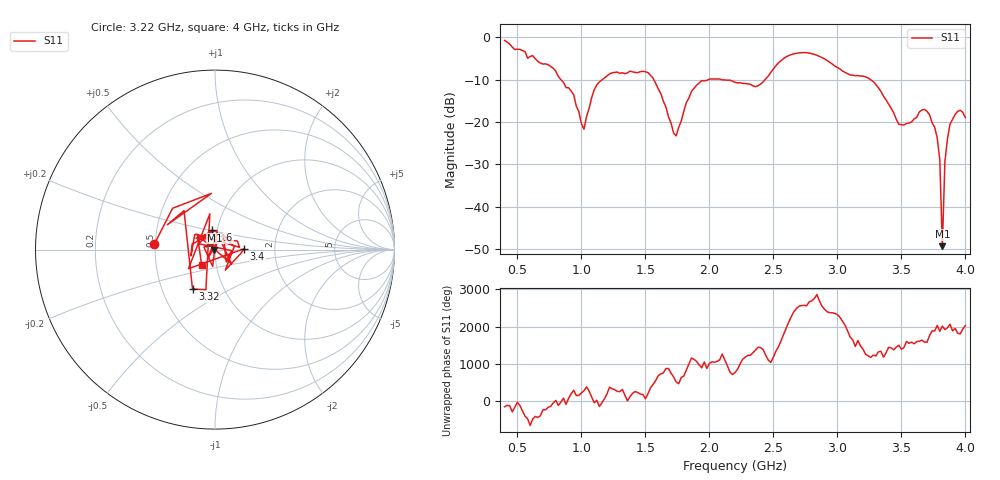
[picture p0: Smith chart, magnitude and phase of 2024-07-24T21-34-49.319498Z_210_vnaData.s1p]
!Created with skrf (http://scikit-rf.org).
# Hz S RI R 50.0
!freq ReS11 ImS11
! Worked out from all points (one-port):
!   181 points, 400 MHz to 4 GHz, reference 50 ohm
!   lowest |S11| = -49.2 dB at 3.82 GHz (marker M1), VSWR 1.01, Z = 49.7 - j0.185 ohm
!   |S11| at or under -10 dB: 838.5 MHz to 1.165 GHz (326.6 MHz wide, 32.6 % of centre); 1.565 GHz to 1.993 GHz (428.2 MHz wide, 24.1 % of centre); 3.257 GHz to end of sweep (the widest 3 of 4)
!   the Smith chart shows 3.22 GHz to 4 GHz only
!   S11 on the Smith chart (normalised r, x): 3.22 GHz: 0.49, +0.03; 3.32 GHz: 0.71, -0.33; 3.4 GHz: 1.39, +0.01; 3.6 GHz: 0.95, +0.21; 4 GHz: 0.85, -0.15
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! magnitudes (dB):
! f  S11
! 400 MHz  -0.8
! 860 MHz  -10.7
! 940 MHz  -13.6
! 1.02 GHz  -21.7
! 1.12 GHz  -11.3
! 1.3 GHz  -8.5
! 1.52 GHz  -8.4
! 1.72 GHz  -22.6
! 1.76 GHz  -21.3
! 1.86 GHz  -12.8
! 1.94 GHz  -10.3
! 2.2 GHz  -10.7
! 2.38 GHz  -11.5
! 2.66 GHz  -3.9
! 3.1 GHz  -8.9
! 3.22 GHz  -9.4
! 3.32 GHz  -11.9
! 3.4 GHz  -15.8
! 3.48 GHz  -20.6
! 3.56 GHz  -20.2
! 3.6 GHz  -19.3
! 3.7 GHz  -17.5
! 3.78 GHz  -23.8
! 3.8 GHz  -28.9
! 3.82 GHz  -49.2
! 3.84 GHz  -29.3
! 3.88 GHz  -20.5
! 4 GHz  -19.0
